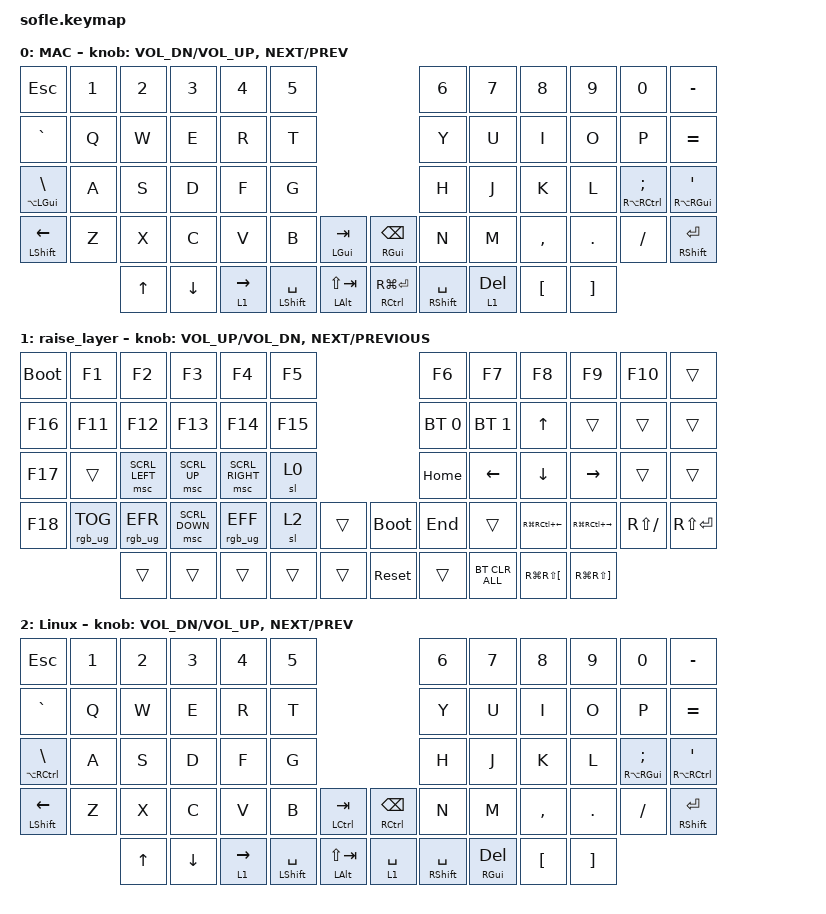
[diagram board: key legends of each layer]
/*
 * Copyright (c) 2020 The ZMK Contributors
 *
 * SPDX-License-Identifier: MIT
 */

#define ZMK_POINTING_DEFAULT_MOVE_VAL 1500  // default: 600
#define ZMK_POINTING_DEFAULT_SCRL_VAL 15    // default: 10

#include <behaviors.dtsi>
#include <dt-bindings/zmk/bt.h>
#include <dt-bindings/zmk/keys.h>
#include <dt-bindings/zmk/pointing.h>
#include <dt-bindings/zmk/rgb.h>

&led_strip { chain-length = <29>; };

/ {
    behaviors {
        home_row_mod: hrm {
            compatible = "zmk,behavior-hold-tap";
            label = "HOMEROW";
            bindings = <&kp>, <&kp>;

            #binding-cells = <2>;
            tapping-term-ms = <280>;
            flavor = "balanced";
            require-prior-idle-ms = <250>;
            quick-tap-ms = <175>;
        };

        space_shift: space_shift {
            compatible = "zmk,behavior-hold-tap";
            label = "SPACE_SHIFT";
            bindings = <&kp>, <&kp>;

            #binding-cells = <2>;
            tapping-term-ms = <200>;
            flavor = "balanced";
            require-prior-idle-ms = <150>;
            quick-tap-ms = <200>;
        };
    };

    keymap {
        compatible = "zmk,keymap";

        MAC {
            // ------------------------------------------------------------------------------------------------------------
            // |  `    |  1  |  2  |  3   |  4   |  5   |                         |  6   |  7    |  8    |  9   |   0   |       |
            // |  ESC  |  Q  |  W  |  E   |  R   |  T   |                         |  Y   |  U    |  I    |  O   |   P   | BKSPC |
            // |  TAB  |  A  |  S  |  D   |  F   |  G   |                         |  H   |  J    |  K    |  L   |   ;   |   '   |
            // | SHIFT |  Z  |  X  |  C   |  V   |  B   |  MUTE  |        | ExtPw |  N   |  M    |  ,    |  .   |   /   | SHIFT |
            //               | GUI | ALT  | CTRL | LOWER|  ENTER |        | SPACE | RAISE| CTRL  | ALT   | GUI  |

            bindings = <
&kp ESCAPE                            &kp N1  &kp N2        &kp N3          &kp N4       &kp N5                                                                     &kp N6                          &kp N7     &kp N8            &kp N9             &kp N0                             &kp MINUS
&kp GRAVE                             &kp Q   &kp W         &kp E           &kp R        &kp T                                                                      &kp Y                           &kp U      &kp I             &kp O              &kp P                              &kp EQUAL
&home_row_mod LA(LEFT_GUI) BACKSLASH  &kp A   &kp S         &kp D           &kp F        &kp G                                                                      &kp H                           &kp J      &kp K             &kp L              &home_row_mod RA(RCTRL) SEMICOLON  &home_row_mod RA(RIGHT_GUI) SQT
&mt LEFT_SHIFT LEFT_ARROW             &kp Z   &kp X         &kp C           &kp V        &kp B                 &mt LEFT_GUI TAB        &mt RIGHT_GUI BACKSPACE      &kp N                           &kp M      &kp COMMA         &kp DOT            &kp FSLH                           &mt RIGHT_SHIFT ENTER
                                              &kp UP_ARROW  &kp DOWN_ARROW  &lt 1 RIGHT  &mt LEFT_SHIFT SPACE  &mt LEFT_ALT LS(TAB)    &mt RIGHT_CONTROL RG(ENTER)  &space_shift RIGHT_SHIFT SPACE  &lt 1 DEL  &kp LEFT_BRACKET  &kp RIGHT_BRACKET
            >;

            sensor-bindings =
                <&inc_dec_kp C_VOL_DN C_VOL_UP>,
                <&inc_dec_kp C_NEXT C_PREV>;
        };

        raise_layer {
            // ------------------------------------------------------------------------------------------------------------
            // |BTCLR| BT1  | BT2  |  BT3  |  BT4  |  BT5 |                |      |      |       |      |       |       |
            // |     | INS  | PSCR | GUI   |       |      |                | PGUP |      |   ^   |      |       |       |
            // |     | ALT  | CTRL | SHIFT |       | CAPS |                | PGDN |   <- |   v   |  ->  |  DEL  | BKSPC |
            // |     | UNDO | CUT  | COPY  | PASTE |      |      |  |      |      |      |       |      |       |       |
            //              |      |       |       |      |      |  |      |      |      |       |      |

            bindings = <
&bootloader  &kp F1           &kp F2           &kp F3          &kp F4           &kp F5                          &kp F6        &kp F7          &kp F8                    &kp F9                     &kp F10        &trans
&kp F16      &kp F11          &kp F12          &kp F13         &kp F14          &kp F15                         &bt BT_SEL 0  &bt BT_SEL 1    &kp UP_ARROW              &trans                     &trans         &trans
&kp F17      &trans           &msc SCRL_LEFT   &msc SCRL_UP    &msc SCRL_RIGHT  &sl 0                           &kp HOME      &kp LEFT        &kp DOWN_ARROW            &kp RIGHT                  &trans         &trans
&kp F18      &rgb_ug RGB_TOG  &rgb_ug RGB_EFR  &msc SCRL_DOWN  &rgb_ug RGB_EFF  &sl 2    &trans    &bootloader  &kp END       &trans          &kp RG(RC(LEFT))          &kp RG(RC(RIGHT))          &kp RS(SLASH)  &kp RS(ENTER)
                              &trans           &trans          &trans           &trans   &trans    &sys_reset   &trans        &bt BT_CLR_ALL  &kp RG(RS(LEFT_BRACKET))  &kp RG(RS(RIGHT_BRACKET))
            >;

            sensor-bindings =
                <&inc_dec_kp C_VOL_UP C_VOL_DN>,
                <&inc_dec_kp K_NEXT K_PREVIOUS>;
        };

        Linux {
            bindings = <
&kp ESCAPE                         &kp N1  &kp N2        &kp N3          &kp N4       &kp N5                                                             &kp N6                          &kp N7             &kp N8            &kp N9             &kp N0                                 &kp MINUS
&kp GRAVE                          &kp Q   &kp W         &kp E           &kp R        &kp T                                                              &kp Y                           &kp U              &kp I             &kp O              &kp P                                  &kp EQUAL
&home_row_mod LA(RCTRL) BACKSLASH  &kp A   &kp S         &kp D           &kp F        &kp G                                                              &kp H                           &kp J              &kp K             &kp L              &home_row_mod RA(RIGHT_GUI) SEMICOLON  &home_row_mod RA(RCTRL) SQT
&mt LEFT_SHIFT LEFT_ARROW          &kp Z   &kp X         &kp C           &kp V        &kp B                 &mt LCTRL TAB           &mt RCTRL BACKSPACE  &kp N                           &kp M              &kp COMMA         &kp DOT            &kp FSLH                               &mt RIGHT_SHIFT ENTER
                                           &kp UP_ARROW  &kp DOWN_ARROW  &lt 1 RIGHT  &mt LEFT_SHIFT SPACE  &mt LEFT_ALT LS(TAB)    &lt 1 SPACE          &space_shift RIGHT_SHIFT SPACE  &mt RIGHT_GUI DEL  &kp LEFT_BRACKET  &kp RIGHT_BRACKET
            >;

            sensor-bindings =
                <&inc_dec_kp C_VOL_DN C_VOL_UP>,
                <&inc_dec_kp C_NEXT C_PREV>;
        };
    };
};
